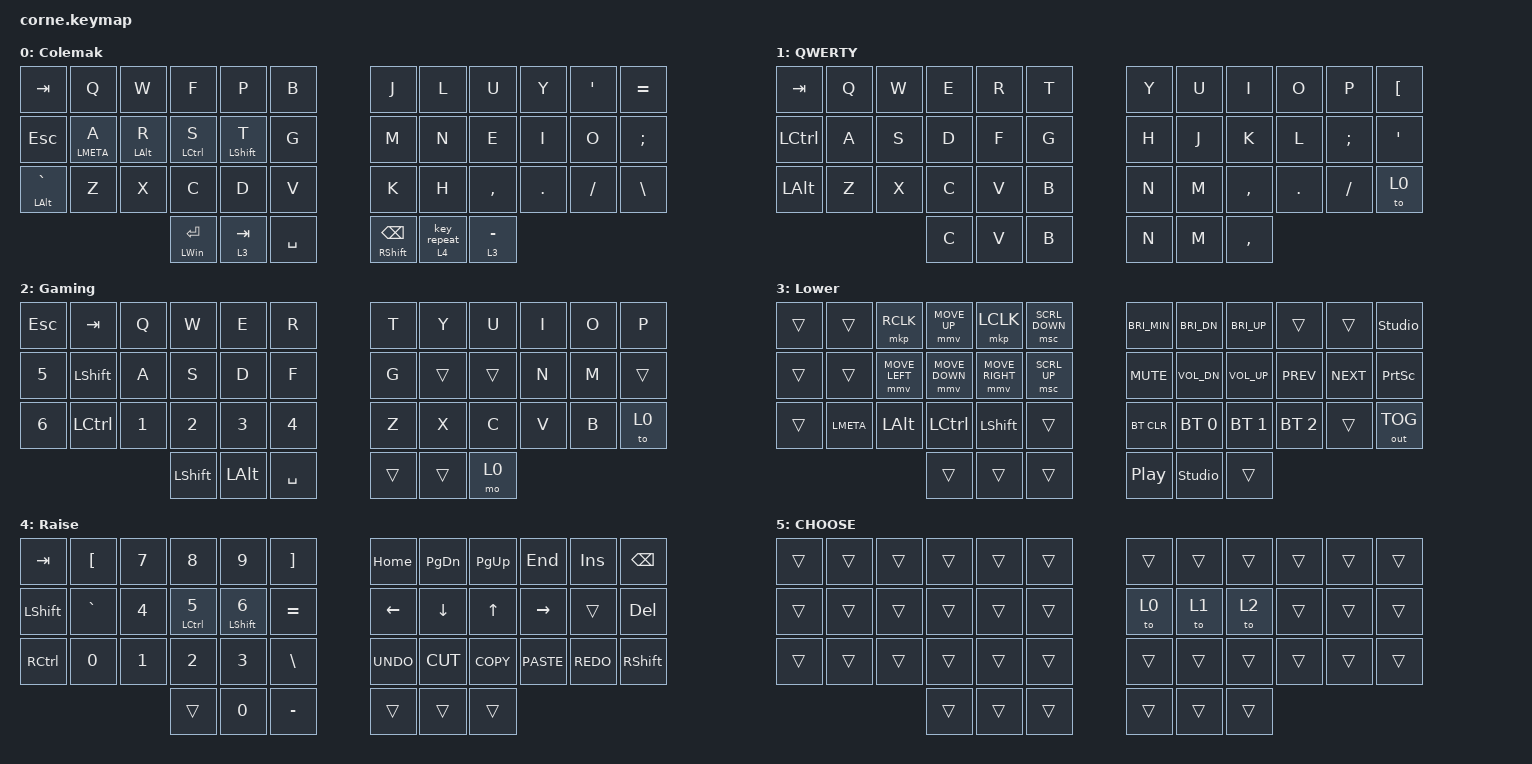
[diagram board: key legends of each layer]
#include <behaviors.dtsi>
#include <dt-bindings/zmk/bt.h>
#include <dt-bindings/zmk/keys.h>
#include <dt-bindings/zmk/outputs.h>
#include <dt-bindings/zmk/pointing.h>

/ {
    kscan: kscan {
        compatible = "zmk,kscan-gpio-matrix";
        diode-direction = "col2row";
        wakeup-source;
        
    };
    
    combos {
        compatible = "zmk,combos";

        combo_enter {
            bindings = <&kp ENTER>;
            key-positions = <38 39>;
        };

        combo_lparen {
            bindings = <&open_stack>;
            key-positions = <32 33>;
            layers = <0>;
        };

        combo_rparen {
            bindings = <&close_stack>;
            key-positions = <34 33>;
            layers = <0>;
        };

        combo_one {
            bindings = <&mm_1>;
            key-positions = <1 0>;
            require-prior-idle-ms = <200>;
            layers = <0>;
            timeout-ms = <200>;
        };

        combo_two {
            bindings = <&mm_2>;
            key-positions = <1 2>;
            require-prior-idle-ms = <200>;
            layers = <0>;
            timeout-ms = <200>;
        };

        combo_three {
            bindings = <&mm_3>;
            key-positions = <2 3>;
            require-prior-idle-ms = <200>;
            layers = <0>;
            timeout-ms = <200>;
        };

        combo_four {
            bindings = <&mm_4>;
            key-positions = <3 4>;
            require-prior-idle-ms = <200>;
            layers = <0>;
            timeout-ms = <200>;
        };

        combo_five {
            bindings = <&mm_5>;
            key-positions = <4 5>;
            require-prior-idle-ms = <200>;
            layers = <0>;
            timeout-ms = <200>;
        };

        combo_six {
            bindings = <&mm_6>;
            key-positions = <6 7>;
            require-prior-idle-ms = <200>;
            layers = <0>;
            timeout-ms = <200>;
        };

        combo_seven {
            bindings = <&mm_7>;
            key-positions = <7 8>;
            require-prior-idle-ms = <200>;
            layers = <0>;
            timeout-ms = <200>;
        };

        combo_eight {
            bindings = <&mm_8>;
            key-positions = <8 9>;
            require-prior-idle-ms = <200>;
            layers = <0>;
            timeout-ms = <200>;
        };

        combo_nine {
            bindings = <&mm_9>;
            key-positions = <9 10>;
            require-prior-idle-ms = <200>;
            layers = <0>;
            timeout-ms = <200>;
        };

        combo_zero {
            bindings = <&mm_0>;
            key-positions = <10 11>;
            require-prior-idle-ms = <200>;
            layers = <0>;
            timeout-ms = <200>;
        };
    };

    behaviors {
        open_stack: open_stack {
            compatible = "zmk,behavior-mod-morph";
            bindings = <&kp LEFT_PARENTHESIS>, <&kp LEFT_BRACKET>;

            #binding-cells = <0>;
            mods = <(MOD_RSFT|MOD_LGUI)>;
        };

        close_stack: close_stack {
            compatible = "zmk,behavior-mod-morph";
            bindings = <&kp RIGHT_PARENTHESIS>, <&kp RBKT>;

            #binding-cells = <0>;
            mods = <(MOD_LGUI|MOD_RSFT)>;
        };

        krp_tap: krp_tap {
            compatible = "zmk,behavior-hold-tap";
            bindings = <&mo>, <&key_repeat>;

            #binding-cells = <2>;
            tapping-term-ms = <200>;
            flavor = "tap-preferred";
            quick-tap-ms = <175>;
            global-quick-tap;
        };

        hml: hml {
            compatible = "zmk,behavior-hold-tap";
            bindings = <&kp>, <&kp>;

            #binding-cells = <2>;
            global-quick-tap;
            flavor = "balanced";
            tapping-term-ms = <300>;
            quick-tap-ms = <175>;
            hold-trigger-key-positions = <6 7 8 9 10 11 18 19 20 21 22 23 30 31 32 33 34 35 39 40 41 36 37 38>;
            hold-trigger-on-release;
            require-prior-idle-ms = <150>;
        };

        mm_1: mm_1 {
            compatible = "zmk,behavior-mod-morph";
            label = "MM_1";
            bindings = <&kp NUMBER_1>, <&kp F1>;

            #binding-cells = <0>;
            mods = <(MOD_LGUI)>;
        };

        mm_2: mm_2 {
            compatible = "zmk,behavior-mod-morph";
            label = "MM_2";
            bindings = <&kp NUMBER_2>, <&kp F2>;

            #binding-cells = <0>;
            mods = <(MOD_LGUI)>;
        };

        mm_3: mm_3 {
            compatible = "zmk,behavior-mod-morph";
            label = "MM_3";
            bindings = <&kp NUMBER_3>, <&kp F3>;

            #binding-cells = <0>;
            mods = <(MOD_LGUI)>;
        };

        mm_4: mm_4 {
            compatible = "zmk,behavior-mod-morph";
            label = "MM_4";
            bindings = <&kp NUMBER_4>, <&kp F4>;

            #binding-cells = <0>;
            mods = <(MOD_LGUI)>;
        };

        mm_5: mm_5 {
            compatible = "zmk,behavior-mod-morph";
            label = "MM_5";
            bindings = <&kp NUMBER_5>, <&kp F5>;

            #binding-cells = <0>;
            mods = <(MOD_LGUI)>;
        };

        mm_6: mm_6 {
            compatible = "zmk,behavior-mod-morph";
            label = "MM_6";
            bindings = <&kp NUMBER_6>, <&kp F6>;

            #binding-cells = <0>;
            mods = <(MOD_LGUI)>;
        };

        mm_7: mm_7 {
            compatible = "zmk,behavior-mod-morph";
            label = "MM_7";
            bindings = <&kp NUMBER_7>, <&kp F7>;

            #binding-cells = <0>;
            mods = <(MOD_LGUI)>;
        };

        mm_8: mm_8 {
            compatible = "zmk,behavior-mod-morph";
            label = "MM_8";
            bindings = <&kp NUMBER_8>, <&kp F8>;

            #binding-cells = <0>;
            mods = <(MOD_LGUI)>;
        };

        mm_9: mm_9 {
            compatible = "zmk,behavior-mod-morph";
            label = "MM_9";
            bindings = <&kp NUMBER_9>, <&kp F9>;

            #binding-cells = <0>;
            mods = <(MOD_LGUI)>;
        };

        mm_0: mm_0 {
            compatible = "zmk,behavior-mod-morph";
            label = "MM_0";
            bindings = <&kp NUMBER_0>, <&kp F10>;

            #binding-cells = <0>;
            mods = <(MOD_LGUI)>;
        };
    };

    keymap {
        compatible = "zmk,keymap";

        colemak_layer {
            bindings = <
&kp TAB              &kp Q         &kp W        &kp F               &kp P         &kp B        &kp J           &kp L         &kp U        &kp Y    &kp SQT   &kp EQUAL
&kp ESC              &hml LMETA A  &hml LALT R  &hml LCTRL S        &hml LSHFT T  &kp G        &kp M           &kp N         &kp E        &kp I    &kp O     &kp SEMI
&hml LEFT_ALT GRAVE  &kp Z         &kp X        &kp C               &kp D         &kp V        &kp K           &kp H         &kp COMMA    &kp DOT  &kp FSLH  &kp BSLH
                                                &mt LEFT_WIN ENTER  &lt 3 TAB     &kp SPACE    &mt RSHFT BSPC  &krp_tap 4 0  &lt 3 MINUS
            >;

            display-name = "Colemak";
        };

        default_layer {
            display-name = "QWERTY";
            bindings = <
&kp TAB       &kp Q  &kp W  &kp E  &kp R  &kp T    &kp Y  &kp U  &kp I      &kp O    &kp P     &kp LBKT
&kp LCTRL     &kp A  &kp S  &kp D  &kp F  &kp G    &kp H  &kp J  &kp K      &kp L    &kp SEMI  &kp SQT
&kp LEFT_ALT  &kp Z  &kp X  &kp C  &kp V  &kp B    &kp N  &kp M  &kp COMMA  &kp DOT  &kp FSLH  &to 0
                            &kp C  &kp V  &kp B    &kp N  &kp M  &kp COMMA
            >;
        };

        gaming_layer {
            bindings = <
&kp ESC  &kp TAB     &kp Q   &kp W      &kp E     &kp R        &kp T   &kp Y   &kp U   &kp I  &kp O  &kp P
&kp N5   &kp LSHIFT  &kp A   &kp S      &kp D     &kp F        &kp G   &trans  &trans  &kp N  &kp M  &trans
&kp N6   &kp LCTRL   &kp N1  &kp N2     &kp N3    &kp N4       &kp Z   &kp X   &kp C   &kp V  &kp B  &to 0
                             &kp LSHFT  &kp LALT  &kp SPACE    &trans  &trans  &mo 0
            >;

            display-name = "Gaming";
        };

        lower_layer {
            display-name = "Lower";
            bindings = <
&trans  &trans     &mkp RCLK       &mmv MOVE_UP    &mkp LCLK        &msc SCRL_DOWN    &kp C_BRI_MIN  &kp C_BRI_DN    &kp C_BRI_UP  &trans        &trans      &studio_unlock
&trans  &trans     &mmv MOVE_LEFT  &mmv MOVE_DOWN  &mmv MOVE_RIGHT  &msc SCRL_UP      &kp C_MUTE     &kp C_VOL_DN    &kp C_VOL_UP  &kp C_PREV    &kp C_NEXT  &kp PRINTSCREEN
&trans  &kp LMETA  &kp LALT        &kp LCTRL       &kp LSHFT        &trans            &bt BT_CLR     &bt BT_SEL 0    &bt BT_SEL 1  &bt BT_SEL 2  &trans      &out OUT_TOG
                                   &trans          &trans           &trans            &kp C_PP       &studio_unlock  &trans
            >;
        };

        raise_layer {
            display-name = "Raise";
            bindings = <
&kp TAB            &kp LBKT   &kp N7  &kp N8                &kp N9              &kp RBKT     &kp HOME    &kp PG_DN  &kp PG_UP   &kp END      &kp INS     &kp BACKSPACE
&kp LEFT_SHIFT     &kp GRAVE  &kp N4  &hml LEFT_CONTROL N5  &hml LEFT_SHIFT N6  &kp EQUAL    &kp LEFT    &kp DOWN   &kp UP      &kp RIGHT    &trans      &kp DEL
&kp RIGHT_CONTROL  &kp N0     &kp N1  &kp N2                &kp N3              &kp BSLH     &kp K_UNDO  &kp K_CUT  &kp K_COPY  &kp K_PASTE  &kp K_REDO  &kp RSHFT
                                      &trans                &kp N0              &kp MINUS    &trans      &trans     &trans
            >;
        };

        inter_layer {
            bindings = <
&trans  &trans  &trans  &trans  &trans  &trans    &trans  &trans  &trans  &trans  &trans  &trans
&trans  &trans  &trans  &trans  &trans  &trans    &to 0   &to 1   &to 2   &trans  &trans  &trans
&trans  &trans  &trans  &trans  &trans  &trans    &trans  &trans  &trans  &trans  &trans  &trans
                        &trans  &trans  &trans    &trans  &trans  &trans
            >;

            display-name = "CHOOSE";
        };
    };
};
